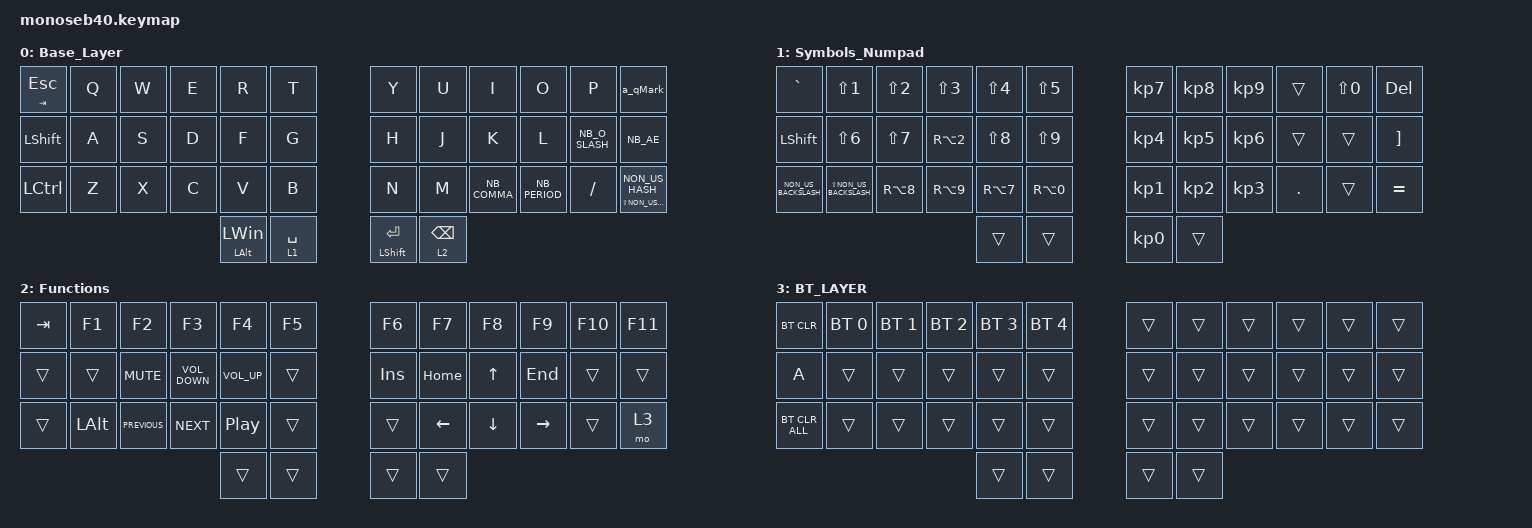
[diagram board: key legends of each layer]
#include "keys_nb.h"
#include <behaviors.dtsi>
#include <dt-bindings/zmk/bt.h>
#include <dt-bindings/zmk/keys.h>

/ {
    behaviors {
        hold_tap_layer: hold_tap_layer {
            compatible = "zmk,behavior-hold-tap";
            label = "HOLD_TAP_LAYER";
            bindings = <&mo>, <&kp>;

            #binding-cells = <2>;
            tapping-term-ms = <150>;
            flavor = "balanced";
        };

        hold_tap_kp: hold_tap_kp {
            compatible = "zmk,behavior-hold-tap";
            label = "HOLD_TAP_KP";
            bindings = <&kp>, <&kp>;

            #binding-cells = <2>;
            tapping-term-ms = <150>;
            flavor = "balanced";
        };

        a_qMark: a_qMark {
            compatible = "zmk,behavior-tap-dance";
            label = "A_QMARK";
            #binding-cells = <0>;
            tapping-term-ms = <150>;
            bindings = <&kp NB_A_RING>, <&kp NB_QMARK>;
        };

        hold_longerTap: hold_longerTap {
            compatible = "zmk,behavior-hold-tap";
            label = "HOLD_LONGERTAP";
            bindings = <&kp>, <&kp>;

            #binding-cells = <2>;
            tapping-term-ms = <250>;
            flavor = "balanced";
        };
    };

    combos {
        compatible = "zmk,combos";

        btlayer {
            bindings = <&mo 3>;
            key-positions = <38 39>;
        };
    };

    keymap {
        compatible = "zmk,keymap";

        Base_Layer {
            bindings = <
&hold_tap_kp TAB ESC  &kp Q  &kp W  &kp E  &kp R                              &kp T                    &kp Y                     &kp U                        &kp I         &kp O          &kp P           &a_qMark
&kp LEFT_SHIFT        &kp A  &kp S  &kp D  &kp F                              &kp G                    &kp H                     &kp J                        &kp K         &kp L          &kp NB_O_SLASH  &kp NB_AE
&kp LEFT_CONTROL      &kp Z  &kp X  &kp C  &kp V                              &kp B                    &kp N                     &kp M                        &kp NB_COMMA  &kp NB_PERIOD  &kp SLASH       &hold_tap_kp LS(NON_US_HASH) NON_US_HASH
                                           &hold_longerTap LEFT_ALT LEFT_WIN  &hold_tap_layer 1 SPACE  &hold_tap_kp LSHFT ENTER  &hold_tap_layer 2 BACKSPACE
            >;
        };

        Symbols_Numpad {
            bindings = <
&kp GRAVE             &kp LS(N1)                &kp LS(NUMBER_2)  &kp LS(NUMBER_3)  &kp LS(NUMBER_4)  &kp LS(NUMBER_5)  &kp KP_N7  &kp KP_N8  &kp KP_N9  &trans      &kp LS(N0)  &kp DEL
&kp LEFT_SHIFT        &kp LS(N6)                &kp LS(NUMBER_7)  &kp RA(NUMBER_2)  &kp LS(N8)        &kp LS(N9)        &kp KP_N4  &kp KP_N5  &kp KP_N6  &trans      &trans      &kp RIGHT_BRACKET
&kp NON_US_BACKSLASH  &kp LS(NON_US_BACKSLASH)  &kp RA(N8)        &kp RA(N9)        &kp RA(N7)        &kp RA(N0)        &kp KP_N1  &kp KP_N2  &kp KP_N3  &kp PERIOD  &trans      &kp EQUAL
                                                                                    &trans            &trans            &kp KP_N0  &trans
            >;
        };

        Functions {
            bindings = <
&kp TAB  &kp F1        &kp F2          &kp F3             &kp F4            &kp F5  &kp F6   &kp F7    &kp F8    &kp F9     &kp F10  &kp F11
&trans   &trans        &kp C_MUTE      &kp C_VOLUME_DOWN  &kp C_VOLUME_UP   &trans  &kp INS  &kp HOME  &kp UP    &kp END    &trans   &trans
&trans   &kp LEFT_ALT  &kp C_PREVIOUS  &kp C_NEXT         &kp C_PLAY_PAUSE  &trans  &trans   &kp LEFT  &kp DOWN  &kp RIGHT  &trans   &mo 3
                                                          &trans            &trans  &trans   &trans
            >;
        };

        BT_LAYER {
            bindings = <
&bt BT_CLR      &bt BT_SEL 0  &bt BT_SEL 1  &bt BT_SEL 2  &bt BT_SEL 3  &bt BT_SEL 4  &trans  &trans  &trans  &trans  &trans  &trans
&kp A           &trans        &trans        &trans        &trans        &trans        &trans  &trans  &trans  &trans  &trans  &trans
&bt BT_CLR_ALL  &trans        &trans        &trans        &trans        &trans        &trans  &trans  &trans  &trans  &trans  &trans
                                                          &trans        &trans        &trans  &trans
            >;
        };
    };
};
